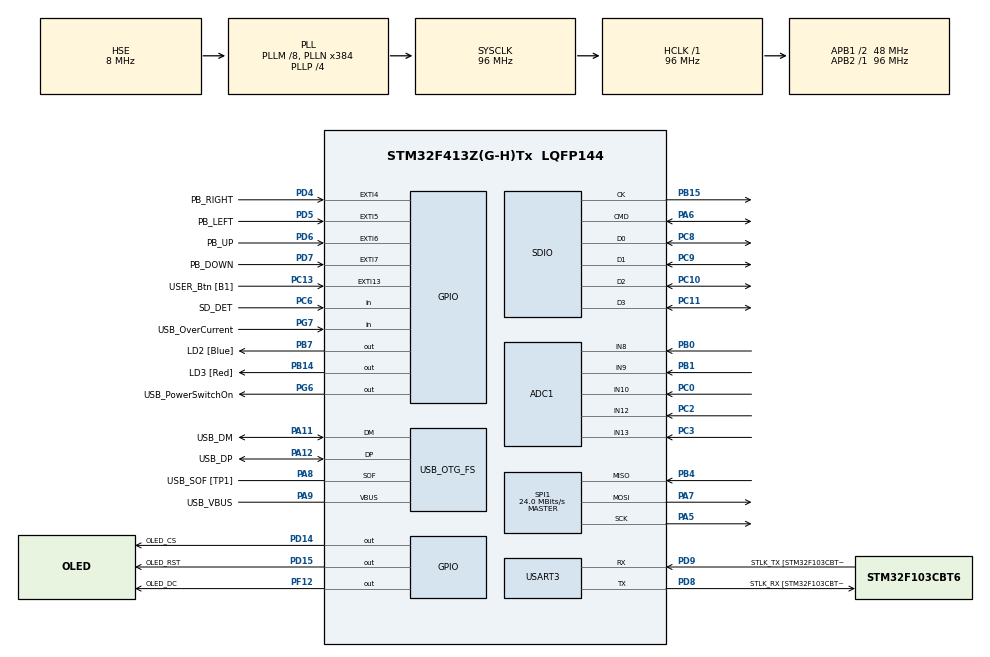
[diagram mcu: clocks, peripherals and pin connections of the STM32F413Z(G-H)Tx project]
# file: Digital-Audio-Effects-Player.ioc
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ADC1.Channel-2\#ChannelRegularConversion=ADC_CHANNEL_8
ADC1.Channel-3\#ChannelRegularConversion=ADC_CHANNEL_9
ADC1.Channel-4\#ChannelRegularConversion=ADC_CHANNEL_10
ADC1.Channel-5\#ChannelRegularConversion=ADC_CHANNEL_12
ADC1.Channel-6\#ChannelRegularConversion=ADC_CHANNEL_13
ADC1.ClockPrescaler=ADC_CLOCK_SYNC_PCLK_DIV8
ADC1.ContinuousConvMode=DISABLE
ADC1.DiscontinuousConvMode=DISABLE
ADC1.EOCSelection=ADC_EOC_SINGLE_CONV
ADC1.NbrOfConversion=5
ADC1.NbrOfConversionFlag=1
ADC1.Rank-2\#ChannelRegularConversion=1
ADC1.Rank-3\#ChannelRegularConversion=2
ADC1.Rank-4\#ChannelRegularConversion=3
ADC1.Rank-5\#ChannelRegularConversion=4
ADC1.Rank-6\#ChannelRegularConversion=5
ADC1.SamplingTime-2\#ChannelRegularConversion=ADC_SAMPLETIME_56CYCLES
ADC1.SamplingTime-3\#ChannelRegularConversion=ADC_SAMPLETIME_56CYCLES
ADC1.SamplingTime-4\#ChannelRegularConversion=ADC_SAMPLETIME_56CYCLES
ADC1.SamplingTime-5\#ChannelRegularConversion=ADC_SAMPLETIME_56CYCLES
ADC1.SamplingTime-6\#ChannelRegularConversion=ADC_SAMPLETIME_56CYCLES
ADC1.ScanConvMode=ENABLE
ADC1.master=1
Dma.ADC1.2.Direction=DMA_PERIPH_TO_MEMORY
Dma.ADC1.2.FIFOMode=DMA_FIFOMODE_DISABLE
Dma.ADC1.2.Instance=DMA2_Stream0
Dma.ADC1.2.MemDataAlignment=DMA_MDATAALIGN_HALFWORD
Dma.ADC1.2.MemInc=DMA_MINC_ENABLE
Dma.ADC1.2.Mode=DMA_NORMAL
Dma.ADC1.2.PeriphDataAlignment=DMA_PDATAALIGN_HALFWORD
Dma.ADC1.2.PeriphInc=DMA_PINC_DISABLE
Dma.ADC1.2.Priority=DMA_PRIORITY_LOW
Dma.Request0=SDIO_RX
Dma.Request1=SDIO_TX
Dma.Request2=ADC1
Dma.SDIO_RX.0.Direction=DMA_PERIPH_TO_MEMORY
Dma.SDIO_RX.0.FIFOMode=DMA_FIFOMODE_ENABLE
Dma.SDIO_RX.0.FIFOThreshold=DMA_FIFO_THRESHOLD_FULL
Dma.SDIO_RX.0.Instance=DMA2_Stream3
Dma.SDIO_RX.0.MemBurst=DMA_MBURST_INC4
Dma.SDIO_RX.0.MemDataAlignment=DMA_MDATAALIGN_WORD
Dma.SDIO_RX.0.MemInc=DMA_MINC_ENABLE
Dma.SDIO_RX.0.Mode=DMA_PFCTRL
Dma.SDIO_RX.0.PeriphBurst=DMA_PBURST_INC4
Dma.SDIO_RX.0.PeriphDataAlignment=DMA_PDATAALIGN_WORD
Dma.SDIO_RX.0.PeriphInc=DMA_PINC_DISABLE
Dma.SDIO_RX.0.Priority=DMA_PRIORITY_LOW
Dma.SDIO_TX.1.Direction=DMA_MEMORY_TO_PERIPH
Dma.SDIO_TX.1.FIFOMode=DMA_FIFOMODE_ENABLE
Dma.SDIO_TX.1.FIFOThreshold=DMA_FIFO_THRESHOLD_FULL
Dma.SDIO_TX.1.Instance=DMA2_Stream6
Dma.SDIO_TX.1.MemBurst=DMA_MBURST_INC4
Dma.SDIO_TX.1.MemDataAlignment=DMA_MDATAALIGN_WORD
Dma.SDIO_TX.1.MemInc=DMA_MINC_ENABLE
Dma.SDIO_TX.1.Mode=DMA_PFCTRL
Dma.SDIO_TX.1.PeriphBurst=DMA_PBURST_INC4
Dma.SDIO_TX.1.PeriphDataAlignment=DMA_PDATAALIGN_WORD
Dma.SDIO_TX.1.PeriphInc=DMA_PINC_DISABLE
Dma.SDIO_TX.1.Priority=DMA_PRIORITY_LOW
FATFS.BSP.number=1
FATFS.USE_DMA_CODE_SD=1
FATFS._MAX_LFN=64
FATFS._USE_CHMOD=1
FATFS._USE_EXPAND=1
FATFS._USE_FIND=1
FATFS._USE_FORWARD=1
FATFS._USE_LABEL=1
FATFS._USE_LFN=1
FATFS0.BSP.STBoard=false
FATFS0.BSP.api=Unknown
FATFS0.BSP.instance=PC6
FATFS0.BSP.ip=GPIO
FATFS0.BSP.mode=Input
FATFS0.BSP.name=Detect_SDIO
FATFS0.BSP.solution=PC6
Mcu.Family=STM32F4
Mcu.Name=STM32F413Z(G-H)Tx
Mcu.Package=LQFP144
NVIC.DMA2_Stream0_IRQn=true\:0\:0\:false\:false\:true\:false\:true\:true
NVIC.DMA2_Stream3_IRQn=true\:0\:0\:false\:false\:true\:false\:true\:true
NVIC.DMA2_Stream6_IRQn=true\:0\:0\:false\:false\:true\:false\:true\:true
NVIC.EXTI4_IRQn=true\:0\:0\:false\:false\:true\:true\:true\:true
NVIC.EXTI9_5_IRQn=true\:0\:0\:false\:false\:true\:true\:true\:true
NVIC.PriorityGroup=NVIC_PRIORITYGROUP_4
NVIC.SDIO_IRQn=true\:0\:0\:false\:false\:true\:true\:true\:true
PA10.GPIO_Label=USB_ID
PA10.Signal=USB_OTG_FS_ID
PA11.GPIO_Label=USB_DM
PA11.Mode=Device_Only
PA11.Signal=USB_OTG_FS_DM
PA12.GPIO_Label=USB_DP
PA12.Mode=Device_Only
PA12.Signal=USB_OTG_FS_DP
PA13.GPIO_Label=TMS
PA13.Mode=Serial_Wire
PA13.Signal=SYS_JTMS-SWDIO
PA14.GPIO_Label=TCK
PA14.Mode=Serial_Wire
PA14.Signal=SYS_JTCK-SWCLK
PA5.Mode=Full_Duplex_Master
PA5.Signal=SPI1_SCK
PA6.GPIO_PuPd=GPIO_PULLUP
PA6.Mode=SD_4_bits_Wide_bus
PA6.Signal=SDIO_CMD
PA7.Mode=Full_Duplex_Master
PA7.Signal=SPI1_MOSI
PA8.GPIO_Label=USB_SOF [TP1]
PA8.Mode=Activate_SOF_FS
PA8.Signal=USB_OTG_FS_SOF
PA9.GPIO_Label=USB_VBUS
PA9.Mode=Activate_VBUS
PA9.Signal=USB_OTG_FS_VBUS
PB0.Signal=ADCx_IN8
PB1.Signal=ADCx_IN9
PB14.GPIO_Label=LD3 [Red]
PB14.Signal=GPIO_Output
PB15.Mode=SD_4_bits_Wide_bus
PB15.Signal=SDIO_CK
PB3.GPIO_Label=SWO
PB3.Signal=SYS_JTDO-SWO
PB4.Mode=Full_Duplex_Master
PB4.Signal=SPI1_MISO
PB7.GPIO_Label=LD2 [Blue]
PB7.Signal=GPIO_Output
PC0.Signal=ADCx_IN10
PC10.GPIO_PuPd=GPIO_PULLUP
PC10.Mode=SD_4_bits_Wide_bus
PC10.Signal=SDIO_D2
PC11.GPIO_PuPd=GPIO_PULLUP
PC11.Mode=SD_4_bits_Wide_bus
PC11.Signal=SDIO_D3
PC13.GPIO_Label=USER_Btn [B1]
PC13.Signal=GPXTI13
PC14-OSC32_IN.Mode=LSE-External-Oscillator
PC14-OSC32_IN.Signal=RCC_OSC32_IN
PC15-OSC32_OUT.Mode=LSE-External-Oscillator
PC15-OSC32_OUT.Signal=RCC_OSC32_OUT
PC2.Signal=ADCx_IN12
PC3.Signal=ADCx_IN13
PC6.GPIO_Label=SD_DET
PC6.Signal=GPIO_Input
PC8.GPIO_PuPd=GPIO_PULLUP
PC8.Mode=SD_4_bits_Wide_bus
PC8.Signal=SDIO_D0
PC9.GPIO_PuPd=GPIO_PULLUP
PC9.Mode=SD_4_bits_Wide_bus
PC9.Signal=SDIO_D1
PD14.GPIO_Label=OLED_CS
PD14.GPIO_PuPd=GPIO_PULLUP
PD14.Signal=GPIO_Output
PD15.GPIO_Label=OLED_RST
PD15.GPIO_PuPd=GPIO_PULLUP
PD15.Signal=GPIO_Output
PD4.GPIO_Label=PB_RIGHT
PD4.GPIO_ModeDefaultEXTI=GPIO_MODE_IT_FALLING
PD4.GPIO_PuPd=GPIO_PULLUP
PD4.Signal=GPXTI4
PD5.GPIO_Label=PB_LEFT
PD5.GPIO_ModeDefaultEXTI=GPIO_MODE_IT_FALLING
PD5.GPIO_PuPd=GPIO_PULLUP
PD5.Signal=GPXTI5
PD6.GPIO_Label=PB_UP
PD6.GPIO_ModeDefaultEXTI=GPIO_MODE_IT_FALLING
PD6.GPIO_PuPd=GPIO_PULLUP
PD6.Signal=GPXTI6
PD7.GPIO_Label=PB_DOWN
PD7.GPIO_ModeDefaultEXTI=GPIO_MODE_IT_FALLING
PD7.GPIO_PuPd=GPIO_PULLUP
PD7.Signal=GPXTI7
PD8.GPIO_Label=STLK_RX [STM32F103CBT6_PA3]
PD8.Mode=Asynchronous
PD8.Signal=USART3_TX
PD9.GPIO_Label=STLK_TX [STM32F103CBT6_PA2]
PD9.Mode=Asynchronous
PD9.Signal=USART3_RX
PF12.GPIO_Label=OLED_DC
PF12.GPIO_PuPd=GPIO_PULLDOWN
PF12.Signal=GPIO_Output
PG6.GPIO_Label=USB_PowerSwitchOn
PG6.Signal=GPIO_Output
PG7.GPIO_Label=USB_OverCurrent
PG7.Signal=GPIO_Input
PH0\ -\ OSC_IN.GPIO_Label=MCO
PH0\ -\ OSC_IN.Mode=HSE-External-Clock-Source
PH0\ -\ OSC_IN.Signal=RCC_OSC_IN
PH1\ -\ OSC_OUT.Mode=HSE-External-Clock-Source
PH1\ -\ OSC_OUT.Signal=RCC_OSC_OUT
ProjectManager.HeapSize=0x200
ProjectManager.StackSize=0x400
ProjectManager.TargetToolchain=STM32CubeIDE
RCC.48MHZClocksFreq_Value=24000000
RCC.AHBFreq_Value=96000000
RCC.APB1CLKDivider=RCC_HCLK_DIV2
RCC.APB1Freq_Value=48000000
RCC.APB1TimFreq_Value=96000000
RCC.APB2Freq_Value=96000000
RCC.APB2TimFreq_Value=96000000
RCC.CortexFreq_Value=96000000
RCC.HCLKFreq_Value=96000000
RCC.HSE_VALUE=8000000
RCC.HSI_VALUE=16000000
RCC.PLLM=8
RCC.PLLMUL=RCC_PLL_MUL9
RCC.PLLN=384
RCC.PLLP=RCC_PLLP_DIV4
RCC.PLLQ=8
RCC.PRESCALERUSB=RCC_USBCLKSOURCE_PLL_DIV1_5
RCC.SYSCLKFreq_VALUE=96000000
RCC.SYSCLKSource=RCC_SYSCLKSOURCE_PLLCLK
RCC.SYSCLKSourceVirtual=RCC_SYSCLKSOURCE_PLLCLK
RCC.USBFreq_Value=48000000
RCC.VCOOutputFreq_Value=384000000
SDIO.ClockDiv=4
SH.ADCx_IN10.0=ADC1_IN10,IN10
SH.ADCx_IN12.0=ADC1_IN12,IN12
SH.ADCx_IN13.0=ADC1_IN13,IN13
SH.ADCx_IN8.0=ADC1_IN8,IN8
SH.ADCx_IN9.0=ADC1_IN9,IN9
SPI1.BaudRatePrescaler=SPI_BAUDRATEPRESCALER_4
SPI1.CalculateBaudRate=24.0 MBits/s
SPI1.Direction=SPI_DIRECTION_2LINES
SPI1.Mode=SPI_MODE_MASTER
SPI1.VirtualType=VM_MASTER
USART3.VirtualMode=VM_ASYNC
USB_OTG_FS.VirtualMode=Device_Only
VP_FATFS_VS_SDIO.Mode=SDIO
board=NUCLEO-F413ZH

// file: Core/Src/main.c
/* USER CODE BEGIN Header */
/**
  ******************************************************************************
  * @file           : main.c
  * @brief          : Main program body
  ******************************************************************************
  * @attention
  *
  * Copyright (c) 2025 STMicroelectronics.
  * All rights reserved.
  *
  * This software is licensed under terms that can be found in the LICENSE file
  * in the root directory of this software component.
  * If no LICENSE file comes with this software, it is provided AS-IS.
  *
  ******************************************************************************
  */
/* USER CODE END Header */
#include "main.h"
#include "fatfs.h"

/* USER CODE BEGIN Includes */
#include <stdio.h>
/* USER CODE END Includes */

/* USER CODE BEGIN PD */
#define MAX_FILE_NAME_LEN _MAX_LFN + 1
/* USER CODE END PD */

ADC_HandleTypeDef hadc1;
DMA_HandleTypeDef hdma_adc1;

SD_HandleTypeDef hsd;
DMA_HandleTypeDef hdma_sdio_rx;
DMA_HandleTypeDef hdma_sdio_tx;

SPI_HandleTypeDef hspi1;

UART_HandleTypeDef huart3;

PCD_HandleTypeDef hpcd_USB_OTG_FS;

/* USER CODE BEGIN PV */
volatile int adcDone = TRUE;
volatile uint16_t adcSamples[5];
volatile knobs_t controlKnobs;
/* USER CODE END PV */

void SystemClock_Config(void);
static void MX_GPIO_Init(void);
static void MX_DMA_Init(void);
static void MX_USART3_UART_Init(void);
static void MX_USB_OTG_FS_PCD_Init(void);
static void MX_SDIO_SD_Init(void);
static void MX_SPI1_Init(void);
static void MX_ADC1_Init(void);
/* USER CODE BEGIN PFP */
#define PUTCHAR_PROTOTYPE int __io_putchar(int ch)
/* USER CODE END PFP */

/* USER CODE BEGIN 0 */
void HAL_ADC_ConvCpltCallback(ADC_HandleTypeDef *hadc)
{
	adcDone = TRUE;
	// standardize the potentiometer readings as a percentage
	controlKnobs.bassGain     = (float) adcSamples[0] / 4096.0f;
	controlKnobs.bassCutoff   = (float) adcSamples[1] / 4096.0f;
	controlKnobs.tremoloDepth = (float) adcSamples[2] / 4096.0f;
	controlKnobs.trebleGain   = (float) adcSamples[3] / 4096.0f;
	controlKnobs.trebleCutoff = (float) adcSamples[4] / 4096.0f;
}
void OLED_Reset(void) {
	HAL_GPIO_WritePin(OLED_RST_GPIO_Port, OLED_RST_Pin, GPIO_PIN_SET);
	HAL_Delay(100);
	HAL_GPIO_WritePin(OLED_RST_GPIO_Port, OLED_RST_Pin, GPIO_PIN_RESET);
	HAL_Delay(100);
	HAL_GPIO_WritePin(OLED_RST_GPIO_Port, OLED_RST_Pin, GPIO_PIN_SET);
	HAL_Delay(100);
}

void OLED_WriteReg(uint8_t Reg) {
	HAL_GPIO_WritePin(OLED_DC_GPIO_Port, OLED_DC_Pin, GPIO_PIN_RESET);
	HAL_GPIO_WritePin(OLED_CS_GPIO_Port, OLED_CS_Pin, GPIO_PIN_RESET);
	HAL_SPI_Transmit(&hspi1, &Reg, 1, 1000);
	HAL_GPIO_WritePin(OLED_CS_GPIO_Port, OLED_CS_Pin, GPIO_PIN_SET);
}

void OLED_WriteData(uint8_t Reg) {
	HAL_GPIO_WritePin(OLED_DC_GPIO_Port, OLED_DC_Pin, GPIO_PIN_SET);
	HAL_GPIO_WritePin(OLED_CS_GPIO_Port, OLED_CS_Pin, GPIO_PIN_RESET);
	HAL_SPI_Transmit(&hspi1, &Reg, 1, 1000);
	HAL_GPIO_WritePin(OLED_CS_GPIO_Port, OLED_CS_Pin, GPIO_PIN_SET);
}

void OLED_StartWrite() {
	HAL_GPIO_WritePin(OLED_DC_GPIO_Port, OLED_DC_Pin, GPIO_PIN_SET);
	HAL_GPIO_WritePin(OLED_CS_GPIO_Port, OLED_CS_Pin, GPIO_PIN_RESET);
}

void OLED_WriteSeq(uint8_t *data, int len) {
	HAL_SPI_Transmit(&hspi1, data, len, 10000);
}

void OLED_EndWrite() {
	HAL_GPIO_WritePin(OLED_CS_GPIO_Port, OLED_CS_Pin, GPIO_PIN_SET);
}

char listState(char **listToDisp, int numItems, char *header, int *cursor)
{
	*cursor = 0; // clear out the cursor for next render
	char input = 'X';
	char *list[MAX_LIST_PER_MENU]; // we can only display 7 items per menu, so lets fit our list down to this

	for(int item = 0; item < MAX_LIST_PER_MENU; item++)
	{
		list[item] = "\0";
	}
	for(int item = 0; (item < MAX_LIST_PER_MENU) && (item < numItems); item++)
	{
		list[item] = listToDisp[item];
	}

	do
	{
		input = getButton();

		*cursor += (input == 'D') ? 1  :
							(input == 'U') ? -1 : 0;
		if(*cursor < 0)
		{
			*cursor = numItems - 1;
		}
		if(*cursor > numItems - 1)
		{
			*cursor = 0;
		}
		render_list(*cursor, header, list, numItems);
	} while(input != 'R' && input != 'L');

	return input;
}

void playTrackState(int songSelection, char *songName)
{
  // Initialize important variables for playing song
  int songPlaying = TRUE;
  wav_header_t songInfo;
  int sd_status;
  int16_t songBuffer[SONG_BUFF_SIZE]; // .wav file encoded in pcm_s16le
  float   songBufferFlt[SONG_BUFF_SIZE];
  color_t fftFrame [ROW][COL];
  unsigned int bytesRead;
  int currentByte = 0;
  uint32_t cycle = 0;
	char input = 'X';
	adcDone = TRUE;

	// Load up the song and parse the header of the .WAV file
  if(sdLoadSong(songName) != SD_SUCCESS)
  {
  	Error_Handler();
  }
  if(parseWavHeader(&songInfo) != SD_SUCCESS)
  {
  	Error_Handler();
  }
	int totalDuration = songInfo.Subchunk2Size / AUDIO_SAMPLE_RATE;
	int currTime      = 0;

  while(songPlaying)
  {
  	if(adcDone == TRUE)
  	{
  		// start up another ADC transaction to get the next audioParams inside controlKnobs
  		adcDone = FALSE;
  		HAL_ADC_Start_DMA(&hadc1, (uint32_t *) adcSamples, 5);
  	}
  	sd_status = sdReadSong(songBuffer, &bytesRead);
    if(sd_status == SD_FAIL)
    {
    	Error_Handler();
    }
    else if(sd_status == SD_EOF) // fetched last bit of the song, it will end after this iteration
    {
    	songPlaying = FALSE;
    }

    // Render a new "track playing" frame onto the OLED
    // The SPI transactions to the OLED is not done via DMA, so drawing the screen is awfully slow
    // We will only refresh the screen at very infrequent intervals so that audio lag can be mostly avoided
    currentByte += bytesRead;
    if(cycle == 0)
    {
    	currTime = ((double) currentByte / (double) songInfo.Subchunk2Size) * (double) totalDuration;
      render_track_playing(songName, currTime, totalDuration);
    }
    cycle++;
    if(cycle == 1000)
    {
    	cycle = 0;
    }

    input = getButton();
    if(input == 'L')
    {
    	songPlaying = FALSE;
    }

    // create a floating point buffer of the sample for data processing + FFT
    convS16Float(songBuffer, songBufferFlt, TRUE);

    // Perform audio processing algorithms on songBufferFlt...
    applyAudioEffects(songBufferFlt, SONG_BUFF_SIZE, controlKnobs);

    /* Note that the FFT drawing on the screen will be ever so slightly
     * ahead of the audio playback from the DAC. The reason for this is
     * because we have a producer-consumer situation with the audio samples going into the DAC
     * (producer is CPU calling fillDacBuffer which adds a set of samples to the DACBufferQ, while
     * the consumer is the DMA which pops from the DACBufferQ. This allows for maximum flexibility
     * by ensuring two things:
     * 1). The DMA will always have new audio to playback at the specified 44.1 KHz playback frequency
     * 2). The CPU will not be blocked if the DMA is running behind on DMA playback. The CPU can simply
     *     add the next set of samples to the DACBufferQ and move on to reading the next set of samples
     *     from the SD Card.
     *
     * However, there is no producer-consumer situation set up for drawing the FFT to the LED matrix. Doing
     * so combined with the interpolation would result in far too much memory usage. If we weren't limited to a relatively
     * small set of memory, then we could more tightly synchronize the screen and audio. That being said, the desync is
     * hardly noticeable (on the scale of milliseconds) so it really doesn't present a problem.
     * */

    // Compute FFT and draw frames
    // Step 1: Create and store first frame
    computeFFTScreen(songBufferFlt, SONG_BUFF_SIZE, fftFrame);
    storeFrame(fftFrame);
    // Step 2: Generate interpolated frames and display them
    for(int step = 0; step < INTERP_STEPS; step++)
    {
      // Calculate interpolation factor (0.0 to 1.0)
      float factor = (float)step / (float)(INTERP_STEPS - 1);
      // Draw the interpolated frame
      drawInterpFrame(factor);
    }

    // Producer - push the latest set of samples onto the DACBufferQ
    fillDacBuffer(songBufferFlt);
  }
  sdCloseFile();

}

/* USER CODE END 0 */

int main(void)
{

  /* MCU Configuration--------------------------------------------------------*/

  /* Reset of all peripherals, Initializes the Flash interface and the Systick. */
  HAL_Init();

  /* Configure the system clock */
  SystemClock_Config();

  /* Initialize all configured peripherals */
  MX_GPIO_Init();
  MX_DMA_Init();
  MX_USART3_UART_Init();
  MX_USB_OTG_FS_PCD_Init();
  MX_SDIO_SD_Init();
  MX_FATFS_Init();
  MX_SPI1_Init();
  MX_ADC1_Init();
  /* USER CODE BEGIN 2 */
  // Check SD card details
  DEBUG_PRINTF("\n\rSD Card Information:\r\n");
  DEBUG_PRINTF("Block size         : %lu\r\n", hsd.SdCard.BlockSize);
  DEBUG_PRINTF("Block number       : %lu\r\n", hsd.SdCard.BlockNbr);

  // Try mounting the card...
  if(sdMount() != SD_SUCCESS)
  {
    Error_Handler();
  }

  // point back into the songList array with songPtrs
  // I am doing this so that I can pass these parameters into
  // functions that accept generic char ** args
  char songList[MAX_FILE_NUM][MAX_FILE_NAME_LEN];
  char *songPtrs[MAX_FILE_NUM];
  for(int i = 0; i < MAX_FILE_NUM; i++)
  {
  	songPtrs[i] = songList[i];
  }
  int numSongs;
  char *optionList[3] = {"Bass Boost", "Tremolo Filter", "Treble Boost"};
  char *yesNoList[2] = {"Yes", "No"};
	int selection;
	int currOption;
	state_t oledState = TRACK_LIST_STATE; // always turn on machine with this state
	state_t nextState = oledState;
	char stateInput;

  // grab a list of all the songs currently on-file in the SD card
  if(sdGetFileList(songPtrs, SONG_DIR, &numSongs) != SD_SUCCESS)
  {
  	Error_Handler();
  }
  DEBUG_PRINTF("Printing all the found songs: \r\n");
  for(int i = 0; i < numSongs; i++)
  {
  	DEBUG_PRINTF("%s\r\n", songPtrs[i]);
  }
	// Reset the OLED
  OLED_Reset();
  OLED_InitReg();
  OLED_1in5_rgb_Init();

  while(1)
  {

  	if(oledState == TRACK_LIST_STATE)
  	{
  		stateInput = listState(songPtrs, numSongs, "Track Selection", &selection);
  		nextState = (stateInput == 'R') ? TRACK_PLAYING_STATE : OPTIONS_LIST_STATE;
  	}
  	else if(oledState == OPTIONS_LIST_STATE)
  	{
  		stateInput = listState(optionList, sizeof(optionList) / sizeof(char *), "Options", &selection);
  		currOption = selection; // preserve the current selected option for future use
  		nextState = (stateInput == 'R') ? TRACK_LIST_STATE : YES_NO_LIST_STATE;
  	}
  	else if(oledState == YES_NO_LIST_STATE)
  	{
  		stateInput = listState(yesNoList, sizeof(yesNoList) / sizeof(char *), optionList[currOption], &selection);
  		nextState = OPTIONS_LIST_STATE;
  		if(currOption == 0)
  		{
  			TDsrBassBoost(!selection);
  		}
  		else if(currOption == 1)
  		{
  			TDsrTremoloFilter(!selection);
  		}
  		else if(currOption == 1)
  		{
  			TDsrTrebleBoost(!selection);
  		}
  	}
  	else if(oledState == TRACK_PLAYING_STATE)
  	{
      // Initiate hardware for playing music
    	initMatrix();
    	initFrameBuffers();
    	initDAC();
      playTrackState(selection, songList[selection]);
      // reset DAC and matrix to stop audio and visual playback
      initMatrix();
      initFrameBuffers();
      initDAC();
      nextState = TRACK_LIST_STATE;
  	}
  	oledState = nextState;
  }

	// Reset the OLED
  OLED_Reset();
  if(sdUnmount() != SD_SUCCESS)
  {
  	Error_Handler();
  }

  /* USER CODE END 2 */

  /* Infinite loop */
  while (1)
  {

  }
}

void SystemClock_Config(void)
{
  RCC_OscInitTypeDef RCC_OscInitStruct = {0};
  RCC_ClkInitTypeDef RCC_ClkInitStruct = {0};

  /** Configure the main internal regulator output voltage
  */
  __HAL_RCC_PWR_CLK_ENABLE();
  __HAL_PWR_VOLTAGESCALING_CONFIG(PWR_REGULATOR_VOLTAGE_SCALE1);

  /** Initializes the RCC Oscillators according to the specified parameters
  * in the RCC_OscInitTypeDef structure.
  */
  RCC_OscInitStruct.OscillatorType = RCC_OSCILLATORTYPE_HSE;
  RCC_OscInitStruct.HSEState = RCC_HSE_BYPASS;
  RCC_OscInitStruct.PLL.PLLState = RCC_PLL_ON;
  RCC_OscInitStruct.PLL.PLLSource = RCC_PLLSOURCE_HSE;
  RCC_OscInitStruct.PLL.PLLM = 8;
  RCC_OscInitStruct.PLL.PLLN = 384;
  RCC_OscInitStruct.PLL.PLLP = RCC_PLLP_DIV4;
  RCC_OscInitStruct.PLL.PLLQ = 8;
  RCC_OscInitStruct.PLL.PLLR = 2;
  if (HAL_RCC_OscConfig(&RCC_OscInitStruct) != HAL_OK)
  {
    Error_Handler();
  }

  /** Initializes the CPU, AHB and APB buses clocks
  */
  RCC_ClkInitStruct.ClockType = RCC_CLOCKTYPE_HCLK|RCC_CLOCKTYPE_SYSCLK
                              |RCC_CLOCKTYPE_PCLK1|RCC_CLOCKTYPE_PCLK2;
  RCC_ClkInitStruct.SYSCLKSource = RCC_SYSCLKSOURCE_PLLCLK;
  RCC_ClkInitStruct.AHBCLKDivider = RCC_SYSCLK_DIV1;
  RCC_ClkInitStruct.APB1CLKDivider = RCC_HCLK_DIV2;
  RCC_ClkInitStruct.APB2CLKDivider = RCC_HCLK_DIV1;

  if (HAL_RCC_ClockConfig(&RCC_ClkInitStruct, FLASH_LATENCY_3) != HAL_OK)
  {
    Error_Handler();
  }
}

static void MX_ADC1_Init(void)
{

  ADC_ChannelConfTypeDef sConfig = {0};

  /** Configure the global features of the ADC (Clock, Resolution, Data Alignment and number of conversion)
  */
  hadc1.Instance = ADC1;
  hadc1.Init.ClockPrescaler = ADC_CLOCK_SYNC_PCLK_DIV8;
  hadc1.Init.Resolution = ADC_RESOLUTION_12B;
  hadc1.Init.ScanConvMode = ENABLE;
  hadc1.Init.ContinuousConvMode = DISABLE;
  hadc1.Init.DiscontinuousConvMode = DISABLE;
  hadc1.Init.ExternalTrigConvEdge = ADC_EXTERNALTRIGCONVEDGE_NONE;
  hadc1.Init.ExternalTrigConv = ADC_SOFTWARE_START;
  hadc1.Init.DataAlign = ADC_DATAALIGN_RIGHT;
  hadc1.Init.NbrOfConversion = 5;
  hadc1.Init.DMAContinuousRequests = DISABLE;
  hadc1.Init.EOCSelection = ADC_EOC_SINGLE_CONV;
  if (HAL_ADC_Init(&hadc1) != HAL_OK)
  {
    Error_Handler();
  }

  /** Configure for the selected ADC regular channel its corresponding rank in the sequencer and its sample time.
  */
  sConfig.Channel = ADC_CHANNEL_8;
  sConfig.Rank = 1;
  sConfig.SamplingTime = ADC_SAMPLETIME_56CYCLES;
  if (HAL_ADC_ConfigChannel(&hadc1, &sConfig) != HAL_OK)
  {
    Error_Handler();
  }

  /** Configure for the selected ADC regular channel its corresponding rank in the sequencer and its sample time.
  */
  sConfig.Channel = ADC_CHANNEL_9;
  sConfig.Rank = 2;
  if (HAL_ADC_ConfigChannel(&hadc1, &sConfig) != HAL_OK)
  {
    Error_Handler();
  }

  /** Configure for the selected ADC regular channel its corresponding rank in the sequencer and its sample time.
  */
  sConfig.Channel = ADC_CHANNEL_10;
  sConfig.Rank = 3;
  if (HAL_ADC_ConfigChannel(&hadc1, &sConfig) != HAL_OK)
  {
    Error_Handler();
  }

  /** Configure for the selected ADC regular channel its corresponding rank in the sequencer and its sample time.
  */
  sConfig.Channel = ADC_CHANNEL_12;
  sConfig.Rank = 4;
  if (HAL_ADC_ConfigChannel(&hadc1, &sConfig) != HAL_OK)
  {
    Error_Handler();
  }

  /** Configure for the selected ADC regular channel its corresponding rank in the sequencer and its sample time.
  */
  sConfig.Channel = ADC_CHANNEL_13;
  sConfig.Rank = 5;
  if (HAL_ADC_ConfigChannel(&hadc1, &sConfig) != HAL_OK)
  {
    Error_Handler();
  }

}

static void MX_SDIO_SD_Init(void)
{

  hsd.Instance = SDIO;
  hsd.Init.ClockEdge = SDIO_CLOCK_EDGE_RISING;
  hsd.Init.ClockBypass = SDIO_CLOCK_BYPASS_DISABLE;
  hsd.Init.ClockPowerSave = SDIO_CLOCK_POWER_SAVE_DISABLE;
  hsd.Init.BusWide = SDIO_BUS_WIDE_4B;
  hsd.Init.HardwareFlowControl = SDIO_HARDWARE_FLOW_CONTROL_DISABLE;
  hsd.Init.ClockDiv = 4;
  /* USER CODE BEGIN SDIO_Init 2 */
  // First init with 1B bus - SD card will not initialize with 4 bits
  hsd.Init.BusWide = SDIO_BUS_WIDE_1B;
  if (HAL_SD_Init(&hsd) != HAL_OK) {
      Error_Handler();
  }

  // Now we can switch to 4 bit mode
  if (HAL_SD_ConfigWideBusOperation(&hsd, SDIO_BUS_WIDE_4B) != HAL_OK) {
      Error_Handler();
  }
  /* USER CODE END SDIO_Init 2 */

}

static void MX_SPI1_Init(void)
{

  /* SPI1 parameter configuration*/
  hspi1.Instance = SPI1;
  hspi1.Init.Mode = SPI_MODE_MASTER;
  hspi1.Init.Direction = SPI_DIRECTION_2LINES;
  hspi1.Init.DataSize = SPI_DATASIZE_8BIT;
  hspi1.Init.CLKPolarity = SPI_POLARITY_LOW;
  hspi1.Init.CLKPhase = SPI_PHASE_1EDGE;
  hspi1.Init.NSS = SPI_NSS_SOFT;
  hspi1.Init.BaudRatePrescaler = SPI_BAUDRATEPRESCALER_4;
  hspi1.Init.FirstBit = SPI_FIRSTBIT_MSB;
  hspi1.Init.TIMode = SPI_TIMODE_DISABLE;
  hspi1.Init.CRCCalculation = SPI_CRCCALCULATION_DISABLE;
  hspi1.Init.CRCPolynomial = 10;
  if (HAL_SPI_Init(&hspi1) != HAL_OK)
  {
    Error_Handler();
  }

}

static void MX_USART3_UART_Init(void)
{

  huart3.Instance = USART3;
  huart3.Init.BaudRate = 115200;
  huart3.Init.WordLength = UART_WORDLENGTH_8B;
  huart3.Init.StopBits = UART_STOPBITS_1;
  huart3.Init.Parity = UART_PARITY_NONE;
  huart3.Init.Mode = UART_MODE_TX_RX;
  huart3.Init.HwFlowCtl = UART_HWCONTROL_NONE;
  huart3.Init.OverSampling = UART_OVERSAMPLING_16;
  if (HAL_UART_Init(&huart3) != HAL_OK)
  {
    Error_Handler();
  }

}

static void MX_USB_OTG_FS_PCD_Init(void)
{

  hpcd_USB_OTG_FS.Instance = USB_OTG_FS;
  hpcd_USB_OTG_FS.Init.dev_endpoints = 6;
  hpcd_USB_OTG_FS.Init.speed = PCD_SPEED_FULL;
  hpcd_USB_OTG_FS.Init.dma_enable = DISABLE;
  hpcd_USB_OTG_FS.Init.phy_itface = PCD_PHY_EMBEDDED;
  hpcd_USB_OTG_FS.Init.Sof_enable = ENABLE;
  hpcd_USB_OTG_FS.Init.low_power_enable = DISABLE;
  hpcd_USB_OTG_FS.Init.lpm_enable = DISABLE;
  hpcd_USB_OTG_FS.Init.battery_charging_enable = ENABLE;
  hpcd_USB_OTG_FS.Init.vbus_sensing_enable = ENABLE;
  hpcd_USB_OTG_FS.Init.use_dedicated_ep1 = DISABLE;
  if (HAL_PCD_Init(&hpcd_USB_OTG_FS) != HAL_OK)
  {
    Error_Handler();
  }

}

static void MX_DMA_Init(void)
{

  /* DMA controller clock enable */
  __HAL_RCC_DMA2_CLK_ENABLE();

  /* DMA interrupt init */
  /* DMA2_Stream0_IRQn interrupt configuration */
  HAL_NVIC_SetPriority(DMA2_Stream0_IRQn, 0, 0);
  HAL_NVIC_EnableIRQ(DMA2_Stream0_IRQn);
  /* DMA2_Stream3_IRQn interrupt configuration */
  HAL_NVIC_SetPriority(DMA2_Stream3_IRQn, 0, 0);
  HAL_NVIC_EnableIRQ(DMA2_Stream3_IRQn);
  /* DMA2_Stream6_IRQn interrupt configuration */
  HAL_NVIC_SetPriority(DMA2_Stream6_IRQn, 0, 0);
  HAL_NVIC_EnableIRQ(DMA2_Stream6_IRQn);

}

static void MX_GPIO_Init(void)
{
  GPIO_InitTypeDef GPIO_InitStruct = {0};
  /* USER CODE BEGIN MX_GPIO_Init_1 */
  __HAL_RCC_GPIOE_CLK_ENABLE();

  /* USER CODE END MX_GPIO_Init_1 */

  /* GPIO Ports Clock Enable */
  __HAL_RCC_GPIOC_CLK_ENABLE();
  __HAL_RCC_GPIOH_CLK_ENABLE();
  __HAL_RCC_GPIOA_CLK_ENABLE();
  __HAL_RCC_GPIOB_CLK_ENABLE();
  __HAL_RCC_GPIOF_CLK_ENABLE();
  __HAL_RCC_GPIOD_CLK_ENABLE();
  __HAL_RCC_GPIOG_CLK_ENABLE();

  /*Configure GPIO pin Output Level */
  HAL_GPIO_WritePin(OLED_DC_GPIO_Port, OLED_DC_Pin, GPIO_PIN_RESET);

  /*Configure GPIO pin Output Level */
  HAL_GPIO_WritePin(GPIOB, LD3_Pin|LD2_Pin, GPIO_PIN_RESET);

  /*Configure GPIO pin Output Level */
  HAL_GPIO_WritePin(GPIOD, OLED_CS_Pin|OLED_RST_Pin, GPIO_PIN_RESET);

  /*Configure GPIO pin Output Level */
  HAL_GPIO_WritePin(USB_PowerSwitchOn_GPIO_Port, USB_PowerSwitchOn_Pin, GPIO_PIN_RESET);

  /*Configure GPIO pin : USER_Btn_Pin */
  GPIO_InitStruct.Pin = USER_Btn_Pin;
  GPIO_InitStruct.Mode = GPIO_MODE_IT_RISING;
  GPIO_InitStruct.Pull = GPIO_NOPULL;
  HAL_GPIO_Init(USER_Btn_GPIO_Port, &GPIO_InitStruct);

  /*Configure GPIO pin : OLED_DC_Pin */
  GPIO_InitStruct.Pin = OLED_DC_Pin;
  GPIO_InitStruct.Mode = GPIO_MODE_OUTPUT_PP;
  GPIO_InitStruct.Pull = GPIO_PULLDOWN;
  GPIO_InitStruct.Speed = GPIO_SPEED_FREQ_LOW;
  HAL_GPIO_Init(OLED_DC_GPIO_Port, &GPIO_InitStruct);

  /*Configure GPIO pins : LD3_Pin LD2_Pin */
  GPIO_InitStruct.Pin = LD3_Pin|LD2_Pin;
  GPIO_InitStruct.Mode = GPIO_MODE_OUTPUT_PP;
  GPIO_InitStruct.Pull = GPIO_NOPULL;
  GPIO_InitStruct.Speed = GPIO_SPEED_FREQ_LOW;
  HAL_GPIO_Init(GPIOB, &GPIO_InitStruct);

  /*Configure GPIO pins : OLED_CS_Pin OLED_RST_Pin */
  GPIO_InitStruct.Pin = OLED_CS_Pin|OLED_RST_Pin;
  GPIO_InitStruct.Mode = GPIO_MODE_OUTPUT_PP;
  GPIO_InitStruct.Pull = GPIO_PULLUP;
  GPIO_InitStruct.Speed = GPIO_SPEED_FREQ_LOW;
  HAL_GPIO_Init(GPIOD, &GPIO_InitStruct);

  /*Configure GPIO pin : USB_PowerSwitchOn_Pin */
  GPIO_InitStruct.Pin = USB_PowerSwitchOn_Pin;
  GPIO_InitStruct.Mode = GPIO_MODE_OUTPUT_PP;
  GPIO_InitStruct.Pull = GPIO_NOPULL;
  GPIO_InitStruct.Speed = GPIO_SPEED_FREQ_LOW;
  HAL_GPIO_Init(USB_PowerSwitchOn_GPIO_Port, &GPIO_InitStruct);

  /*Configure GPIO pin : USB_OverCurrent_Pin */
  GPIO_InitStruct.Pin = USB_OverCurrent_Pin;
  GPIO_InitStruct.Mode = GPIO_MODE_INPUT;
  GPIO_InitStruct.Pull = GPIO_NOPULL;
  HAL_GPIO_Init(USB_OverCurrent_GPIO_Port, &GPIO_InitStruct);

  /*Configure GPIO pin : SD_DET_Pin */
  GPIO_InitStruct.Pin = SD_DET_Pin;
  GPIO_InitStruct.Mode = GPIO_MODE_INPUT;
  GPIO_InitStruct.Pull = GPIO_NOPULL;
  HAL_GPIO_Init(SD_DET_GPIO_Port, &GPIO_InitStruct);

  /*Configure GPIO pins : PB_RIGHT_Pin PB_LEFT_Pin PB_UP_Pin PB_DOWN_Pin */
  GPIO_InitStruct.Pin = PB_RIGHT_Pin|PB_LEFT_Pin|PB_UP_Pin|PB_DOWN_Pin;
  GPIO_InitStruct.Mode = GPIO_MODE_IT_FALLING;
  GPIO_InitStruct.Pull = GPIO_PULLUP;
  HAL_GPIO_Init(GPIOD, &GPIO_InitStruct);

  /* EXTI interrupt init*/
  HAL_NVIC_SetPriority(EXTI4_IRQn, 0, 0);
  HAL_NVIC_EnableIRQ(EXTI4_IRQn);

  HAL_NVIC_SetPriority(EXTI9_5_IRQn, 0, 0);
  HAL_NVIC_EnableIRQ(EXTI9_5_IRQn);

  /* USER CODE BEGIN MX_GPIO_Init_2 */

  // GPIOE [RGB1/RGB2, addr, clk, lat, and oe pins for matrix]
  GPIO_InitStruct.Pin  = GPIO_PIN_All & ~(GPIO_PIN_0 | GPIO_PIN_1);
  GPIO_InitStruct.Mode = GPIO_MODE_OUTPUT_PP;
  GPIO_InitStruct.Pull = GPIO_NOPULL;
  HAL_GPIO_Init(GPIOE, &GPIO_InitStruct);

  // GPIOA_4 is DAC_OUT1 [analog sound wave output]
  GPIO_InitStruct.Pin  = GPIO_PIN_4;
  GPIO_InitStruct.Mode = GPIO_MODE_ANALOG;
  GPIO_InitStruct.Pull = GPIO_NOPULL;
  HAL_GPIO_Init(GPIOA, &GPIO_InitStruct);

  /* USER CODE END MX_GPIO_Init_2 */
}

/* USER CODE BEGIN 4 */

/**
  * @brief  Retargets the C library printf function to the USART.
  *   None
  * @retval None
  */
PUTCHAR_PROTOTYPE
{
  /* Place your implementation of fputc here */
  /* e.g. write a character to the USART3 and Loop until the end of transmission */
  HAL_UART_Transmit(&huart3, (uint8_t *)&ch, 1, 0xFFFF);

  return ch;
}

/* USER CODE END 4 */

void Error_Handler(void)
{
  __disable_irq();
  while (1)
  {
  }
}
